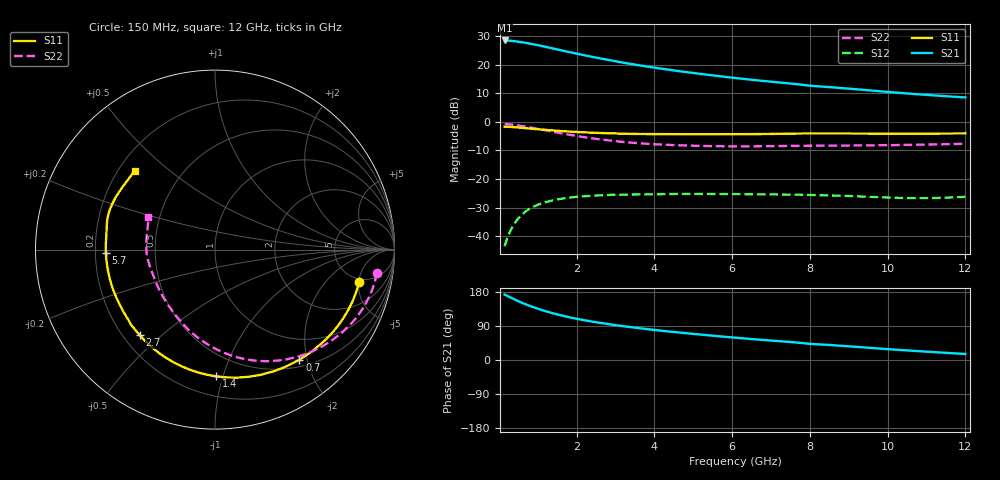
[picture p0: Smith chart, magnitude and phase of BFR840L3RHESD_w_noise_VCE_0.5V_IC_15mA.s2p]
! Infineon Technologies  Discrete & RF Semiconductors
! BFR840L3RHESD
! VCE =  0.5 V,  IC =  15 mA
! Common Emitter S-Parameters:  Jun 2012
# GHz  S  MA  R  50
!  f  S11  S21  S12  S22
! GHz  MAG  ANG  MAG  ANG  MAG  ANG  MAG  ANG
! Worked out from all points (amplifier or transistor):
!   91 points, 150 MHz to 12 GHz, reference 50 ohm
!   highest |S21| = 28.5 dB at 150 MHz (marker M1)
!   |S21| within 3 dB of that: start of sweep to 1.458 GHz
!   unconditionally stable (mu >= 1): 6.953 GHz to end of sweep
!   at 1.3 GHz: K = 0.19, MSG = 26.8 dB, |S12| = -27.7 dB
!   at 4.3 GHz: K = 0.60, MSG = 21.8 dB, |S12| = -25.3 dB
!   at 12 GHz: K = 2.06, MAG = 11.5 dB, |S12| = -26.2 dB
!   lowest NFmin = 0.91 dB at 450 MHz
!   S11 on the Smith chart (normalised r, x): 150 MHz: 4.55, -5.06; 700 MHz: 0.61, -1.87; 1.4 GHz: 0.34, -0.95; 2.7 GHz: 0.27, -0.43; 5.7 GHz: 0.24, -0.01; 12 GHz: 0.27, +0.38
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0.15  0.8232 -12.6  26.48 172.7  0.0067 77.4  0.9109 -8.2
0.3  0.8151 -24.4  26.12 165.0  0.0125 74.0  0.8979 -17.3
0.45  0.8007 -35.6  25.45 157.7  0.0185 68.1  0.874 -25.7
0.6  0.7843 -45.9  24.6 150.9  0.0241 62.8  0.844 -33.5
0.7  0.7733 -52.5  23.97 146.7  0.0274 59.7  0.8223 -38.4
0.9  0.7524 -64.5  22.62 138.9  0.033 54.1  0.7774 -47.8
1  0.7424 -70.1  21.91 135.4  0.0354 51.6  0.755 -52.1
1.2  0.7237 -80.3  20.5 128.9  0.0393 46.9  0.7114 -60.3
1.4  0.7064 -89.5  19.12 123.1  0.0425 42.9  0.6701 -67.9
1.8  0.6772 -105.3  16.66 113.1  0.0472 35.9  0.5972 -81.2
2.2  0.6552 -118.3  14.6 104.9  0.05 30.1  0.5386 -92.5
2.7  0.6348 -131.3  12.51 96.6  0.0523 24.7  0.4848 -104.6
3  0.628 -138.1  11.48 91.9  0.053 21.8  0.4605 -110.7
3.4  0.6162 -146.2  10.28 86.7  0.0536 19.9  0.4327 -118.9
4.2  0.6094 -159.2  8.472 77.1  0.0544 16.5  0.4001 -132.5
4.9  0.6077 -168.8  7.288 69.9  0.0549 14.4  0.3841 -143.0
5.7  0.6081 -178.2  6.257 62.3  0.0546 12.4  0.3743 -153.6
6.1  0.6086 177.7  5.828 58.7  0.0544 11.5  0.3728 -158.3
8  0.6267 159.6  4.279 42.6  0.0526 8.6  0.3824 -179.8
8.5  0.6267 156.1  4.05 39.6  0.0517 8.2  0.3837 176.4
10.5  0.6213 142.6  3.136 25.3  0.0464 12.4  0.3952 161.6
12  0.627 135.6  2.671 15.8  0.0489 20.2  0.4137 153.8
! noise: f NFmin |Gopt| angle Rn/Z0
0.45  0.91  0.14  10  0.14
0.9  0.94  0.14  16  0.14
1.9  0.97  0.16  37  0.14
3.5  0.96  0.17  60  0.13
4  0.97  0.19  68  0.13
5.5  0.99  0.22  83  0.13
7  1.04  0.22  105  0.12
8  1.1  0.23  116  0.12
10  1.19  0.22  135  0.11
12  1.3  0.23  170  0.11
